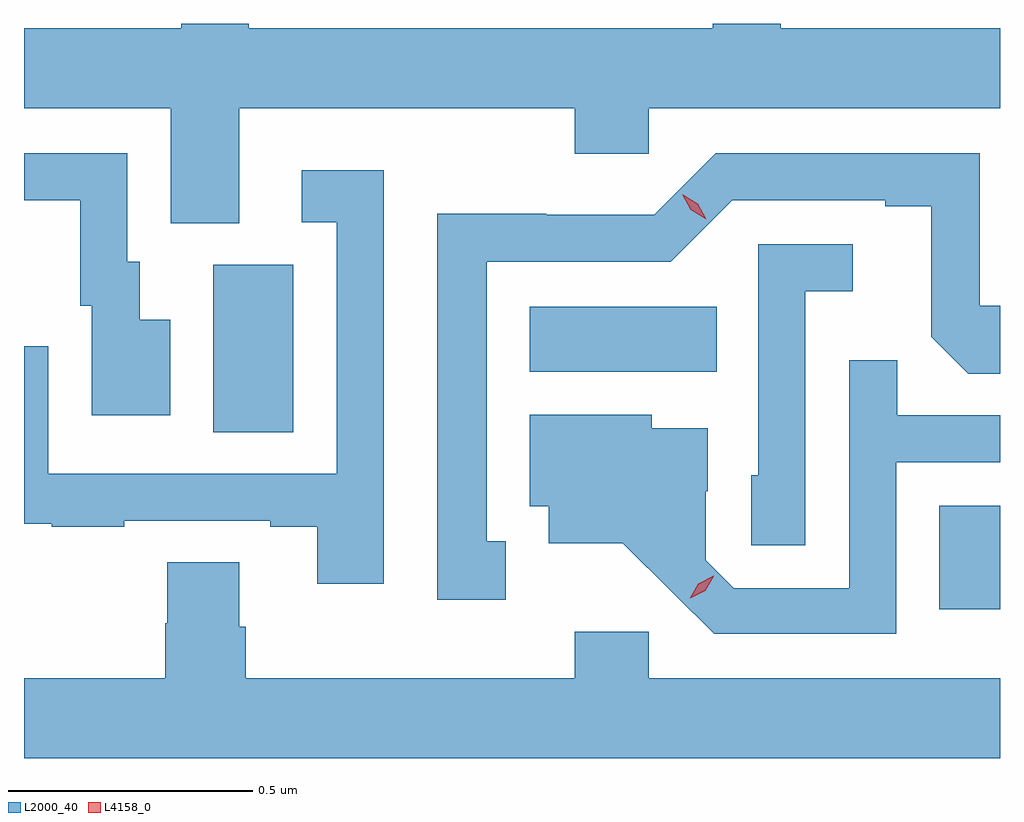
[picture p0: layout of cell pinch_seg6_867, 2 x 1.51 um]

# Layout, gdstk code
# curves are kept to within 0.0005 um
import gdstk
lib = gdstk.Library(unit=1e-6, precision=1e-09)
def R(c, l, rs):  # rectangles x0, y0, x1, y1
    for r in rs: c.add(gdstk.rectangle(r[:2], r[2:], *l))
def P(c, l, *ps):  # polygons
    for p in ps: c.add(gdstk.Polygon(p, *l))
L2000_40 = (2000, 40)
L4158_0 = (4158, 0)

pinch_seg6_867 = lib.new_cell('pinch_seg6_867')
R(pinch_seg6_867, L2000_40, [(126.668,970.286,126.792,970.498), (125.18,970.648,125.344,970.992), (125.828,970.772,126.212,970.906)])
P(pinch_seg6_867, L2000_40, [(126.792,971.476),(126.343,971.476),(126.343,971.486),(126.203,971.486),(126.203,971.476),(125.253,971.476),(125.253,971.486),(125.114,971.486),(125.114,971.476),(124.792,971.476),(124.792,971.312),(125.093,971.312),(125.093,971.077),(125.233,971.077),(125.233,971.312),(125.921,971.312),(125.921,971.219),(126.072,971.219),(126.072,971.312),(126.792,971.312)],
  [(125.092,970.879),(125.029,970.879),(125.029,970.998),(125.004,970.998),(125.004,971.22),(124.792,971.22),(124.792,971.124),(124.907,971.124),(124.907,970.908),(124.931,970.908),(124.931,970.683),(125.092,970.683)],
  [(125.779,970.425),(125.74,970.425),(125.74,970.998),(126.117,970.998),(126.243,971.124),(126.557,971.124),(126.557,971.112),(126.651,971.112),(126.651,970.844),(126.727,970.768),(126.792,970.768),(126.792,970.908),(126.75,970.908),(126.75,971.22),(126.21,971.22),(126.084,971.094),(125.862,971.094),(125.862,971.096),(125.639,971.096),(125.639,970.305),(125.779,970.305)],
  [(125.529,971.185),(125.361,971.185),(125.361,971.079),(125.433,971.079),(125.433,970.563),(124.842,970.563),(124.842,970.825),(124.792,970.825),(124.792,970.461),(124.849,970.461),(124.849,970.455),(124.997,970.455),(124.997,970.467),(125.297,970.467),(125.297,970.455),(125.393,970.455),(125.393,970.338),(125.529,970.338)],
  [(126.393,970.937),(126.49,970.937),(126.49,971.034),(126.297,971.034),(126.297,970.56),(126.282,970.56),(126.282,970.417),(126.393,970.417)],
  [(126.579,970.587),(126.792,970.587),(126.792,970.683),(126.581,970.683),(126.581,970.796),(126.483,970.796),(126.483,970.329),(126.246,970.329),(126.189,970.386),(126.189,970.528),(126.193,970.528),(126.193,970.657),(126.078,970.657),(126.078,970.684),(125.828,970.684),(125.828,970.497),(125.867,970.497),(125.867,970.421),(126.019,970.421),(126.206,970.236),(126.579,970.236)],
  [(126.792,970.144),(126.072,970.144),(126.072,970.24),(125.921,970.24),(125.921,970.144),(125.246,970.144),(125.246,970.25),(125.233,970.25),(125.233,970.382),(125.086,970.382),(125.086,970.257),(125.081,970.257),(125.081,970.144),(124.792,970.144),(124.792,969.98),(126.792,969.98)])
P(pinch_seg6_867, L4158_0, [(126.157,970.308),(126.157,970.309),(126.174,970.338),(126.205,970.354),(126.205,970.354),(126.205,970.353),(126.188,970.324),(126.157,970.308)],
  [(126.19,971.085),(126.158,971.104),(126.141,971.136),(126.141,971.136),(126.141,971.136),(126.173,971.117),(126.19,971.085),(126.19,971.085)])

lib.write_gds('pinch_seg6_867.gds')
